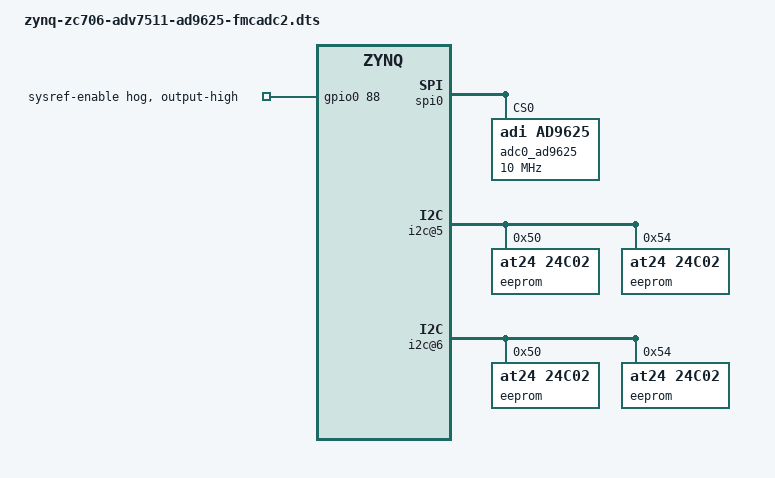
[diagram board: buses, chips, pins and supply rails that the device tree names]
// SPDX-License-Identifier: GPL-2.0
/*
 * Analog Devices AD-FMCADC2-EBZ
 * https://wiki.analog.com/resources/eval/user-guides/ad-fmcadc2-ebz
 *
 * hdl_project: <fmcadc2/zc706>
 * board_revision: <>
 *
 * Copyright (C) 2014-2020 Analog Devices Inc.
 */
/dts-v1/;

#include "zynq-zc706.dtsi"
#include "zynq-zc706-adv7511.dtsi"
#include <dt-bindings/jesd204/adxcvr.h>

/ {
	clocks {
		ad9625_clkin: clock@0 {
			compatible = "fixed-clock";
			clock-frequency = <2500000000>;
			#clock-cells = <0>;
			clock-output-names = "clkin";
		};

		ad9625_divclk: clock@1 {
			compatible = "fixed-factor-clock";

			clocks = <&ad9625_clkin>;
			clock-div = <4>;
			clock-mult = <1>;

			#clock-cells = <0>;
			clock-output-names = "divclk";
		};
	};
};

&spi0 {
	status = "okay";

	adc0_ad9625: ad9625@0 {
		compatible = "adi,ad9625";
		reg = <0>;
		spi-max-frequency = <10000000>;
		clocks = <&axi_ad9625_jesd>, <&ad9625_clkin>;
		clock-names = "jesd_adc_clk", "adc_clk";
	};
};

&i2c_mux {
	i2c@5 { /* HPC IIC */
		#address-cells = <1>;
		#size-cells = <0>;
		reg = <5>;

		eeprom@50 {
			compatible = "at24,24c02";
			reg = <0x50>;
		};

		eeprom@54 {
			compatible = "at24,24c02";
			reg = <0x54>;
		};
	};

	i2c@6 { /* LPC IIC */
		#address-cells = <1>;
		#size-cells = <0>;
		reg = <6>;
		eeprom@50 {
			compatible = "at24,24c02";
			reg = <0x50>;
		};

		eeprom@54 {
			compatible = "at24,24c02";
			reg = <0x54>;
		};
	};
};

&fpga_axi {
	rx_dma: rx-dmac@7c420000 {
		compatible = "adi,axi-dmac-1.00.a";
		reg = <0x7c420000 0x10000>;
		#dma-cells = <1>;
		interrupts = <0 57 IRQ_TYPE_LEVEL_HIGH>;
		clocks = <&clkc 16>;

		adi,channels {
			#address-cells = <1>;
			#size-cells = <0>;

			dma-channel@0 {
				reg = <0>;
				adi,source-bus-width = <64>;
				adi,source-bus-type = <1>;
				adi,destination-bus-width = <64>;
				adi,destination-bus-type = <0>;
			};
		};
	};

	axi_ad9625_core: axi-ad9625-hpc@44a10000 {
		compatible = "adi,axi-ad9625-1.0";
		reg = <0x44a10000 0x10000>;
		dmas = <&rx_dma 0>;
		dma-names = "rx";
		spibus-connected = <&adc0_ad9625>;
	};

	axi_ad9625_jesd: axi-jesd204-rx@44aa0000 {
		compatible = "adi,axi-jesd204-rx-1.0";
		reg = <0x44aa0000 0x1000>;

		interrupts = <0 56 IRQ_TYPE_LEVEL_HIGH>;

		clocks = <&clkc 16>, <&axi_adxcvr 1>, <&axi_adxcvr 0>;
		clock-names = "s_axi_aclk", "device_clk", "lane_clk";

		#clock-cells = <0>;
		clock-output-names = "jesd_adc_lane_clk";

		adi,octets-per-frame = <1>;
		adi,frames-per-multiframe = <32>;
	};

	axi_adxcvr: axi-adxcvr-rx@44a60000 {
		compatible = "adi,axi-adxcvr-1.0";
		reg = <0x44a60000 0x1000>;

		clocks = <&ad9625_divclk>;
		clock-names = "conv";

		#clock-cells = <1>;
		clock-output-names = "adc_gt_clk", "rx_out_clk";

		adi,sys-clk-select = <XCVR_CPLL>;
		adi,out-clk-select = <XCVR_OUTCLK_PMA>;
	};
};

&gpio0 {
	sysref_enable {
		gpio-hog;
		gpios = <88 0>;
		output-high;
		line-name = "sysref-enable";
	};
};
